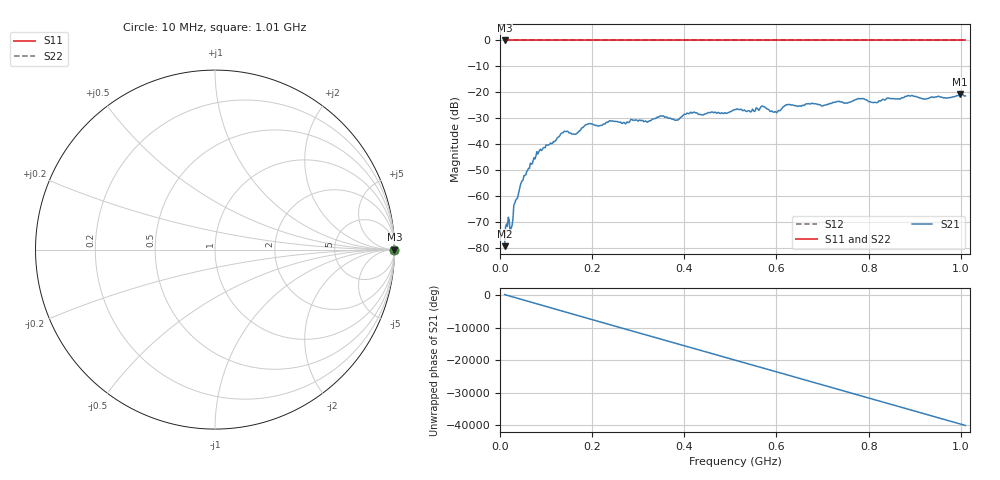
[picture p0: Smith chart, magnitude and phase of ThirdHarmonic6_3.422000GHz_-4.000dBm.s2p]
! 8/17/2025 10:58:55 AM
! C:\ANRITSUVNA\TEMP\TEMP.S2P
! CHANNEL.1
! TR.MEASUREMENT
! RAW.DATA
! RF.CORRECTION.OFF
! AVERAGING.OFF
! IF.BANDWIDTH: 5KHZ
! SWEEPTYPE:  FREQ.SWEEP(Linear)
! Reference Plane Port Info
! PORT:  PORT1  PORT2
! DISTANCE:  0  m  0  m
! TIME:  0  s  0  s
! PHASE.OFFSET:  0  deg.  0  deg.
! LOSS:  0  dB  0  dB
! REF.LOSS:  0  dB  0  dB
! REF.FREQ:  0  Hz  0  Hz
! Power Info
! POWER:  -20  dBm  -20  dBm
! EFF.POWER:  -20  dBm  -20  dBm
! SOURCE.ATTEN:  0  dB  0  dB
! TEST.ATTEN:  0  dB  0  dB
# GHZ S RI R 50.0
! FREQ.GHZ  S11RE  S11IM  S21RE  S21IM  S12RE  S12IM  S22RE  S22IM
!; PortSelection: Port_12
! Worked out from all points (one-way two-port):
!   501 points, 10 MHz to 1.01 GHz, reference 50 ohm
!   highest |S21| = -20.81 dB at 998 MHz (marker M1); lowest = -79.5 dB at 10 MHz (marker M2)
!   lowest |S11| = 0.0 dB at 10 MHz (marker M3)
!   |S11| at or under -10 dB: nowhere
!   |S22| runs from 0.0 to 0.0 dB; largest |S21 - S12| = 1.1
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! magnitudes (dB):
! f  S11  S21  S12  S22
! 10 MHz  0.0  -79.5  0.0  0.0
! 16 MHz  0.0  -71.8  0.0  0.0
! 24 MHz  0.0  -72.6  0.0  0.0
! 34 MHz  0.0  -61.8  0.0  0.0
! 48 MHz  0.0  -54.2  0.0  0.0
! 84 MHz  0.0  -43.1  0.0  0.0
! 136 MHz  0.0  -35.7  0.0  0.0
! 162 MHz  0.0  -36.2  0.0  0.0
! 178 MHz  0.0  -33.8  0.0  0.0
! 192 MHz  0.0  -32.2  0.0  0.0
! 322 MHz  0.0  -31.3  0.0  0.0
! 344 MHz  0.0  -29.7  0.0  0.0
! 382 MHz  0.0  -30.8  0.0  0.0
! 410 MHz  0.0  -28.3  0.0  0.0
! 510 MHz  0.0  -26.7  0.0  0.0
! 570 MHz  0.0  -25.4  0.0  0.0
! 598 MHz  0.0  -27.5  0.0  0.0
! 624 MHz  0.0  -24.8  0.0  0.0
! 678 MHz  0.0  -24.3  0.0  0.0
! 844 MHz  0.0  -22.3  0.0  0.0
! 998 MHz  0.0  -20.8  0.0  0.0
! 1.01 GHz  0.0  -21.4  0.0  0.0
